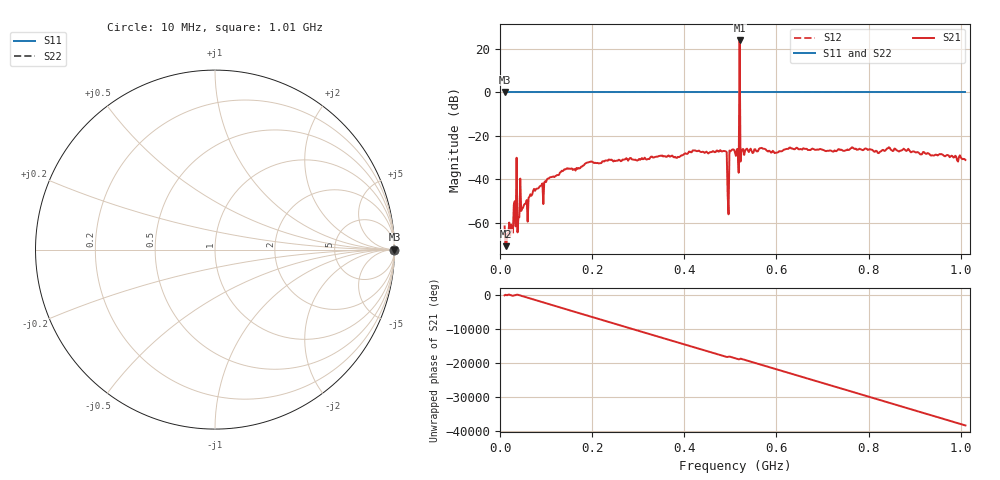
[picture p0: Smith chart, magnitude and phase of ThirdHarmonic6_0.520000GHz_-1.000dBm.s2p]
! 8/15/2025 4:00:51 PM
! C:\ANRITSUVNA\TEMP\TEMP.S2P
! CHANNEL.1
! TR.MEASUREMENT
! RAW.DATA
! RF.CORRECTION.OFF
! AVERAGING.OFF
! IF.BANDWIDTH: 5KHZ
! SWEEPTYPE:  FREQ.SWEEP(Linear)
! Reference Plane Port Info
! PORT:  PORT1  PORT2
! DISTANCE:  0  m  0  m
! TIME:  0  s  0  s
! PHASE.OFFSET:  0  deg.  0  deg.
! LOSS:  0  dB  0  dB
! REF.LOSS:  0  dB  0  dB
! REF.FREQ:  0  Hz  0  Hz
! Power Info
! POWER:  -20  dBm  -20  dBm
! EFF.POWER:  -20  dBm  -20  dBm
! SOURCE.ATTEN:  0  dB  0  dB
! TEST.ATTEN:  0  dB  0  dB
# GHZ S RI R 50.0
! FREQ.GHZ  S11RE  S11IM  S21RE  S21IM  S12RE  S12IM  S22RE  S22IM
!; PortSelection: Port_12
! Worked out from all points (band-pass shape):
!   501 points, 10 MHz to 1.01 GHz, reference 50 ohm
!   highest |S21| = 23.70 dB at 520 MHz (marker M1); lowest = -70.8 dB at 12 MHz (marker M2)
!   |S21| within 3 dB of the highest: 519.9013 MHz to 520.1078 MHz (206.5 kHz wide, 0.0397 % of centre)
!   lowest |S11| = 0.0 dB at 10 MHz (marker M3)
!   |S11| at or under -10 dB: nowhere
!   |S22| runs from 0.0 to 0.0 dB; largest |S21 - S12| = 16
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0.01  1 0  0.00013 -0.000805  1 0  1 0
0.012  1 0  -1.73e-05 0.000286  1 0  1 0
0.024  1 0  0.000608 -0.000661  1 0  1 0
0.032  1 0  0.00234 -0.00202  1 0  1 0
0.04  1 0  0.0012 0.000568  1 0  1 0
0.042  1 0  0.000912 -0.000966  1 0  1 0
0.106  1 0  -0.00841 -0.00613  1 0  1 0
0.178  1 0  -0.0193 0.0014  1 0  1 0
0.344  1 0  0.0238 -0.0237  1 0  1 0
0.488  1 0  -0.00224 -0.0438  1 0  1 0
0.492  1 0  -0.0132 0.0394  1 0  1 0
0.498  1 0  -0.0322 -0.0318  1 0  1 0
0.502  1 0  0.0164 0.0423  1 0  1 0
0.51  1 0  -0.0131 0.0387  1 0  1 0
0.514  1 0  0.0244 -0.0416  1 0  1 0
0.516  1 0  -0.0364 -0.033  1 0  1 0
0.52  1 0  -14.99 3.125  1 0  1 0
0.524  1 0  -0.0114 -0.0412  1 0  1 0
0.526  1 0  -0.0482 0.00461  1 0  1 0
0.678  1 0  -0.0473 0.0169  1 0  1 0
0.844  1 0  0.025 -0.0477  1 0  1 0
1.01  1 0  0.0132 0.024  1 0  1 0
